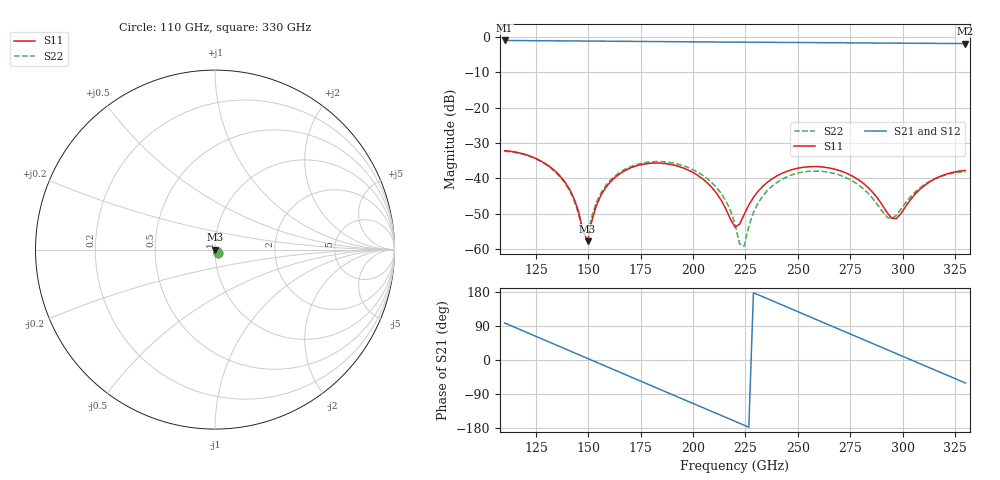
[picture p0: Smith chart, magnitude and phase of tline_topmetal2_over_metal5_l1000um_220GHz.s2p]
#  GHZ S DB R 50
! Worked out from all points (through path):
!   101 points, 110 GHz to 330 GHz, reference 50 ohm
!   highest |S21| = -1.01 dB at 110 GHz (marker M1); lowest = -1.9 dB at 330 GHz (marker M2)
!   group delay of S21, straight-line fit = 6.54 ps
!   lowest |S11| = -57.8 dB at 149.6 GHz (marker M3), VSWR 1.00, Z = 50.1 - j0.0611 ohm
!   |S11| at or under -10 dB: start of sweep to end of sweep
!   |S22| runs from -59.2 to -32.3 dB; largest |S21 - S12| = 1e-13
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110  -32.22 -49.1  -1.01 97.7  -1.01 97.7  -32.33 -49.0
123.2  -33.95 -77.5  -1.06 66.5  -1.06 66.5  -34.08 -77.4
136.4  -39.32 -104.5  -1.12 35.3  -1.12 35.3  -39.55 -103.9
143  -45.53 -113.1  -1.15 19.7  -1.15 19.7  -45.99 -110.9
147.4  -54.87 -95.4  -1.16 9.4  -1.16 9.4  -55.40 -83.6
149.6  -57.84 -28.4  -1.17 4.2  -1.17 4.2  -55.84 -19.7
154  -47.42 12.2  -1.19 -6.2  -1.19 -6.2  -46.58 10.6
160.6  -40.95 5.3  -1.22 -21.8  -1.22 -21.8  -40.49 3.7
171.6  -36.74 -17.3  -1.27 -47.8  -1.27 -47.8  -36.37 -19.1
184.8  -35.74 -46.5  -1.33 -78.9  -1.33 -78.9  -35.29 -48.9
206.8  -41.31 -89.7  -1.43 -130.7  -1.43 -130.7  -40.13 -96.9
215.6  -48.65 -90.0  -1.46 -151.4  -1.46 -151.4  -46.35 -111.1
220  -53.82 -52.9  -1.48 -161.8  -1.48 -161.8  -52.92 -108.0
222.2  -52.98 -21.1  -1.49 -167.0  -1.49 -167.0  -58.56 -85.5
224.4  -50.19 -3.2  -1.50 -172.1  -1.50 -172.1  -59.21 -20.0
228.8  -45.42 5.2  -1.51 177.5  -1.51 177.5  -49.71 11.1
235.4  -41.16 -1.3  -1.54 162.0  -1.54 162.0  -43.50 4.1
257.4  -36.69 -48.9  -1.62 110.1  -1.62 110.1  -37.95 -46.3
279.4  -40.61 -109.6  -1.70 58.3  -1.70 58.3  -42.07 -109.9
294.8  -51.29 153.1  -1.76 22.1  -1.76 22.1  -51.48 135.6
312.4  -41.22 20.3  -1.82 -19.2  -1.82 -19.2  -41.07 22.6
330  -37.78 -33.0  -1.88 -60.6  -1.88 -60.6  -38.18 -30.2
